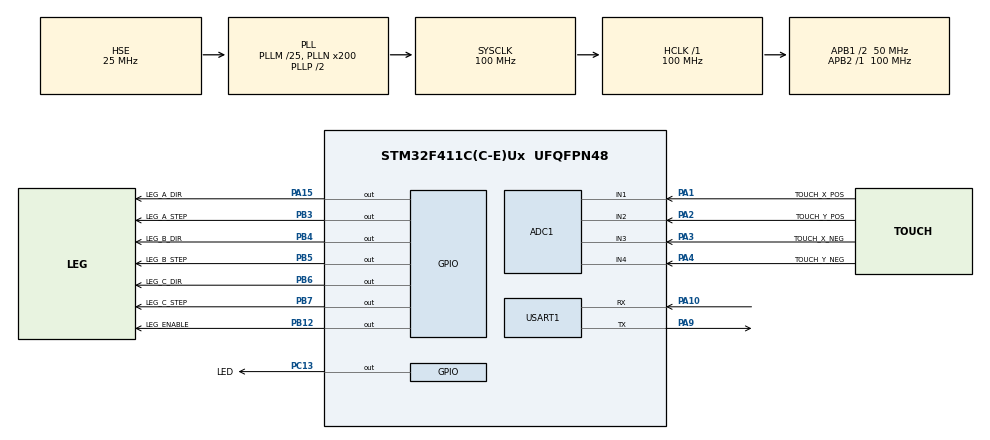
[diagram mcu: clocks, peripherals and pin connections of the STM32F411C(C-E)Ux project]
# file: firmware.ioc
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ADC1.Channel-3\#ChannelRegularConversion=ADC_CHANNEL_1
ADC1.NbrOfConversionFlag=1
ADC1.Rank-3\#ChannelRegularConversion=1
ADC1.SamplingTime-3\#ChannelRegularConversion=ADC_SAMPLETIME_480CYCLES
ADC1.master=1
Mcu.Family=STM32F4
Mcu.Name=STM32F411C(C-E)Ux
Mcu.Package=UFQFPN48
NVIC.PriorityGroup=NVIC_PRIORITYGROUP_4
NVIC.TIM1_BRK_TIM9_IRQn=true\:0\:0\:false\:false\:true\:true\:true\:true
NVIC.TIM5_IRQn=true\:2\:0\:true\:false\:true\:true\:true\:true
PA1.GPIO_Label=TOUCH_X_POS
PA1.Signal=ADCx_IN1
PA10.Mode=Asynchronous
PA10.Signal=USART1_RX
PA13.Mode=Serial_Wire
PA13.Signal=SYS_JTMS-SWDIO
PA14.Mode=Serial_Wire
PA14.Signal=SYS_JTCK-SWCLK
PA15.GPIO_Label=LEG_A_DIR
PA15.GPIO_Speed=GPIO_SPEED_FREQ_VERY_HIGH
PA15.Signal=GPIO_Output
PA2.GPIO_Label=TOUCH_Y_POS
PA2.Signal=ADCx_IN2
PA3.GPIO_Label=TOUCH_X_NEG
PA3.Signal=ADCx_IN3
PA4.GPIO_Label=TOUCH_Y_NEG
PA4.Signal=ADCx_IN4
PA9.Mode=Asynchronous
PA9.Signal=USART1_TX
PB12.GPIO_Label=LEG_ENABLE
PB12.Signal=GPIO_Output
PB3.GPIO_Label=LEG_A_STEP
PB3.GPIO_Speed=GPIO_SPEED_FREQ_VERY_HIGH
PB3.Signal=GPIO_Output
PB4.GPIO_Label=LEG_B_DIR
PB4.GPIO_Speed=GPIO_SPEED_FREQ_VERY_HIGH
PB4.Signal=GPIO_Output
PB5.GPIO_Label=LEG_B_STEP
PB5.GPIO_Speed=GPIO_SPEED_FREQ_VERY_HIGH
PB5.Signal=GPIO_Output
PB6.GPIO_Label=LEG_C_DIR
PB6.GPIO_Speed=GPIO_SPEED_FREQ_VERY_HIGH
PB6.Signal=GPIO_Output
PB7.GPIO_Label=LEG_C_STEP
PB7.GPIO_Speed=GPIO_SPEED_FREQ_VERY_HIGH
PB7.Signal=GPIO_Output
PC13-ANTI_TAMP.GPIO_Label=LED
PC13-ANTI_TAMP.Signal=GPIO_Output
PH0\ -\ OSC_IN.Mode=HSE-External-Oscillator
PH0\ -\ OSC_IN.Signal=RCC_OSC_IN
PH1\ -\ OSC_OUT.Mode=HSE-External-Oscillator
PH1\ -\ OSC_OUT.Signal=RCC_OSC_OUT
ProjectManager.HeapSize=0x200
ProjectManager.StackSize=0x400
ProjectManager.TargetToolchain=CMake
RCC.48MHZClocksFreq_Value=50000000
RCC.AHBFreq_Value=100000000
RCC.APB1CLKDivider=RCC_HCLK_DIV2
RCC.APB1Freq_Value=50000000
RCC.APB1TimFreq_Value=100000000
RCC.APB2Freq_Value=100000000
RCC.APB2TimFreq_Value=100000000
RCC.CortexFreq_Value=100000000
RCC.HCLKFreq_Value=100000000
RCC.HSE_VALUE=25000000
RCC.HSI_VALUE=16000000
RCC.LSE_VALUE=32768
RCC.PLLM=25
RCC.PLLN=200
RCC.PLLSourceVirtual=RCC_PLLSOURCE_HSE
RCC.SYSCLKFreq_VALUE=100000000
RCC.SYSCLKSource=RCC_SYSCLKSOURCE_PLLCLK
RCC.VCOOutputFreq_Value=200000000
SH.ADCx_IN1.0=ADC1_IN1,IN1
SH.ADCx_IN2.0=ADC1_IN2,IN2
SH.ADCx_IN3.0=ADC1_IN3,IN3
SH.ADCx_IN4.0=ADC1_IN4,IN4
TIM5.AutoReloadPreload=TIM_AUTORELOAD_PRELOAD_ENABLE
TIM5.Period=4999
TIM5.Prescaler=99
TIM9.AutoReloadPreload=TIM_AUTORELOAD_PRELOAD_ENABLE
TIM9.Period=24
TIM9.Prescaler=99
USART1.VirtualMode=VM_ASYNC
VP_TIM5_VS_ClockSourceINT.Mode=Internal
VP_TIM9_VS_ClockSourceINT.Mode=Internal
board=custom

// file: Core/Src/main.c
/* USER CODE BEGIN Header */
/**
  ******************************************************************************
  * @file           : main.c
  * @brief          : Main program body
  ******************************************************************************
  * @attention
  *
  * Copyright (c) 2026 STMicroelectronics.
  * All rights reserved.
  *
  * This software is licensed under terms that can be found in the LICENSE file
  * in the root directory of this software component.
  * If no LICENSE file comes with this software, it is provided AS-IS.
  *
  ******************************************************************************
  */
/* USER CODE END Header */
#include "main.h"

/* USER CODE BEGIN Includes */
#include <stdio.h>

#include "controller.h"
#include "resistive_touch.h"
#include "stepper_driver.h"
/* USER CODE END Includes */

/* USER CODE BEGIN PD */
#define PUTCHAR_PROTOTYPE int __io_putchar(int ch)
/* USER CODE END PD */

ADC_HandleTypeDef hadc1;

TIM_HandleTypeDef htim5;
TIM_HandleTypeDef htim9;

UART_HandleTypeDef huart1;

/* USER CODE BEGIN PV */
static uint32_t hclk_mhz;
static uint32_t last_tick;

#ifndef NDEBUG
volatile uint16_t x_raw, y_raw;
volatile float x_pos, y_pos;
volatile uint16_t pressure;

volatile float x_out, y_out;
volatile float a_theta, b_theta, c_theta;
#endif

volatile bool err_occurred = false;
/* USER CODE END PV */

void SystemClock_Config(void);
static void MX_GPIO_Init(void);
static void MX_ADC1_Init(void);
static void MX_TIM5_Init(void);
static void MX_TIM9_Init(void);
static void MX_USART1_UART_Init(void);
/* USER CODE BEGIN PFP */
static void DWT_Init(void);
/* USER CODE END PFP */

int main(void)
{

  /* MCU Configuration--------------------------------------------------------*/

  /* Reset of all peripherals, Initializes the Flash interface and the Systick. */
  HAL_Init();

  /* USER CODE BEGIN Init */
  #if !defined(__FPU_USED) || (__FPU_USED != 1)
  #error "FPU is NOT enabled in the compiler! Check CMake flags."
  #endif

  SCB->CPACR |= ((3UL << 10*2) | (3UL << 11*2));
  /* USER CODE END Init */

  /* Configure the system clock */
  SystemClock_Config();

  /* USER CODE BEGIN SysInit */
  DWT_Init();
  /* USER CODE END SysInit */

  /* Initialize all configured peripherals */
  MX_GPIO_Init();
  MX_ADC1_Init();
  MX_TIM5_Init();
  MX_TIM9_Init();
  MX_USART1_UART_Init();
  /* USER CODE BEGIN 2 */
  Touch_Init();
  Controller_Init();

  HAL_TIM_Base_Start_IT(&htim5);
  HAL_TIM_Base_Start_IT(&htim9);
  /* USER CODE END 2 */

  /* Infinite loop */
  /* USER CODE BEGIN WHILE */
  setvbuf(stdout, NULL, _IONBF, 0);
  while (1)
  {
    /* USER CODE END WHILE */

    /* USER CODE BEGIN 3 */
    const float x_err = 0 - x_pos, y_err = 0 - y_pos;
    //printf("x_raw: %d | y_raw: %d | z: %d | x_pos: %.2f | y_pos: %.2f \n", x_raw, y_raw, pressure, x_pos, y_pos);
    printf("x_err: %.3f | y_err: %.3f | x_out: %.3f | y_out: %.3f | a_theta: %.3f | b_theta: %.3f | c_theta: %.3f \n", x_err, y_err, x_out, y_out, a_theta, b_theta, c_theta);
  }
  /* USER CODE END 3 */
}

void SystemClock_Config(void)
{
  RCC_OscInitTypeDef RCC_OscInitStruct = {0};
  RCC_ClkInitTypeDef RCC_ClkInitStruct = {0};

  /** Configure the main internal regulator output voltage
  */
  __HAL_RCC_PWR_CLK_ENABLE();
  __HAL_PWR_VOLTAGESCALING_CONFIG(PWR_REGULATOR_VOLTAGE_SCALE1);

  /** Initializes the RCC Oscillators according to the specified parameters
  * in the RCC_OscInitTypeDef structure.
  */
  RCC_OscInitStruct.OscillatorType = RCC_OSCILLATORTYPE_HSE;
  RCC_OscInitStruct.HSEState = RCC_HSE_ON;
  RCC_OscInitStruct.PLL.PLLState = RCC_PLL_ON;
  RCC_OscInitStruct.PLL.PLLSource = RCC_PLLSOURCE_HSE;
  RCC_OscInitStruct.PLL.PLLM = 25;
  RCC_OscInitStruct.PLL.PLLN = 200;
  RCC_OscInitStruct.PLL.PLLP = RCC_PLLP_DIV2;
  RCC_OscInitStruct.PLL.PLLQ = 4;
  if (HAL_RCC_OscConfig(&RCC_OscInitStruct) != HAL_OK)
  {
    Error_Handler();
  }

  /** Initializes the CPU, AHB and APB buses clocks
  */
  RCC_ClkInitStruct.ClockType = RCC_CLOCKTYPE_HCLK|RCC_CLOCKTYPE_SYSCLK
                              |RCC_CLOCKTYPE_PCLK1|RCC_CLOCKTYPE_PCLK2;
  RCC_ClkInitStruct.SYSCLKSource = RCC_SYSCLKSOURCE_PLLCLK;
  RCC_ClkInitStruct.AHBCLKDivider = RCC_SYSCLK_DIV1;
  RCC_ClkInitStruct.APB1CLKDivider = RCC_HCLK_DIV2;
  RCC_ClkInitStruct.APB2CLKDivider = RCC_HCLK_DIV1;

  if (HAL_RCC_ClockConfig(&RCC_ClkInitStruct, FLASH_LATENCY_3) != HAL_OK)
  {
    Error_Handler();
  }
}

static void MX_ADC1_Init(void)
{

  ADC_ChannelConfTypeDef sConfig = {0};

  /** Configure the global features of the ADC (Clock, Resolution, Data Alignment and number of conversion)
  */
  hadc1.Instance = ADC1;
  hadc1.Init.ClockPrescaler = ADC_CLOCK_SYNC_PCLK_DIV4;
  hadc1.Init.Resolution = ADC_RESOLUTION_12B;
  hadc1.Init.ScanConvMode = DISABLE;
  hadc1.Init.ContinuousConvMode = DISABLE;
  hadc1.Init.DiscontinuousConvMode = DISABLE;
  hadc1.Init.ExternalTrigConvEdge = ADC_EXTERNALTRIGCONVEDGE_NONE;
  hadc1.Init.ExternalTrigConv = ADC_SOFTWARE_START;
  hadc1.Init.DataAlign = ADC_DATAALIGN_RIGHT;
  hadc1.Init.NbrOfConversion = 1;
  hadc1.Init.DMAContinuousRequests = DISABLE;
  hadc1.Init.EOCSelection = ADC_EOC_SINGLE_CONV;
  if (HAL_ADC_Init(&hadc1) != HAL_OK)
  {
    Error_Handler();
  }

  /** Configure for the selected ADC regular channel its corresponding rank in the sequencer and its sample time.
  */
  sConfig.Channel = ADC_CHANNEL_1;
  sConfig.Rank = 1;
  sConfig.SamplingTime = ADC_SAMPLETIME_480CYCLES;
  if (HAL_ADC_ConfigChannel(&hadc1, &sConfig) != HAL_OK)
  {
    Error_Handler();
  }

}

static void MX_TIM5_Init(void)
{

  TIM_ClockConfigTypeDef sClockSourceConfig = {0};
  TIM_MasterConfigTypeDef sMasterConfig = {0};

  htim5.Instance = TIM5;
  htim5.Init.Prescaler = 99;
  htim5.Init.CounterMode = TIM_COUNTERMODE_UP;
  htim5.Init.Period = 4999;
  htim5.Init.ClockDivision = TIM_CLOCKDIVISION_DIV1;
  htim5.Init.AutoReloadPreload = TIM_AUTORELOAD_PRELOAD_ENABLE;
  if (HAL_TIM_Base_Init(&htim5) != HAL_OK)
  {
    Error_Handler();
  }
  sClockSourceConfig.ClockSource = TIM_CLOCKSOURCE_INTERNAL;
  if (HAL_TIM_ConfigClockSource(&htim5, &sClockSourceConfig) != HAL_OK)
  {
    Error_Handler();
  }
  sMasterConfig.MasterOutputTrigger = TIM_TRGO_RESET;
  sMasterConfig.MasterSlaveMode = TIM_MASTERSLAVEMODE_DISABLE;
  if (HAL_TIMEx_MasterConfigSynchronization(&htim5, &sMasterConfig) != HAL_OK)
  {
    Error_Handler();
  }

}

static void MX_TIM9_Init(void)
{

  TIM_ClockConfigTypeDef sClockSourceConfig = {0};

  htim9.Instance = TIM9;
  htim9.Init.Prescaler = 99;
  htim9.Init.CounterMode = TIM_COUNTERMODE_UP;
  htim9.Init.Period = 24;
  htim9.Init.ClockDivision = TIM_CLOCKDIVISION_DIV1;
  htim9.Init.AutoReloadPreload = TIM_AUTORELOAD_PRELOAD_ENABLE;
  if (HAL_TIM_Base_Init(&htim9) != HAL_OK)
  {
    Error_Handler();
  }
  sClockSourceConfig.ClockSource = TIM_CLOCKSOURCE_INTERNAL;
  if (HAL_TIM_ConfigClockSource(&htim9, &sClockSourceConfig) != HAL_OK)
  {
    Error_Handler();
  }

}

static void MX_USART1_UART_Init(void)
{

  huart1.Instance = USART1;
  huart1.Init.BaudRate = 115200;
  huart1.Init.WordLength = UART_WORDLENGTH_8B;
  huart1.Init.StopBits = UART_STOPBITS_1;
  huart1.Init.Parity = UART_PARITY_NONE;
  huart1.Init.Mode = UART_MODE_TX_RX;
  huart1.Init.HwFlowCtl = UART_HWCONTROL_NONE;
  huart1.Init.OverSampling = UART_OVERSAMPLING_16;
  if (HAL_UART_Init(&huart1) != HAL_OK)
  {
    Error_Handler();
  }

}

static void MX_GPIO_Init(void)
{
  GPIO_InitTypeDef GPIO_InitStruct = {0};

  /* GPIO Ports Clock Enable */
  __HAL_RCC_GPIOC_CLK_ENABLE();
  __HAL_RCC_GPIOH_CLK_ENABLE();
  __HAL_RCC_GPIOA_CLK_ENABLE();
  __HAL_RCC_GPIOB_CLK_ENABLE();

  /*Configure GPIO pin Output Level */
  HAL_GPIO_WritePin(LED_GPIO_Port, LED_Pin, GPIO_PIN_RESET);

  /*Configure GPIO pin Output Level */
  HAL_GPIO_WritePin(GPIOB, LEG_ENABLE_Pin|LEG_A_STEP_Pin|LEG_B_DIR_Pin|LEG_B_STEP_Pin
                          |LEG_C_DIR_Pin|LEG_C_STEP_Pin, GPIO_PIN_RESET);

  /*Configure GPIO pin Output Level */
  HAL_GPIO_WritePin(LEG_A_DIR_GPIO_Port, LEG_A_DIR_Pin, GPIO_PIN_RESET);

  /*Configure GPIO pin : LED_Pin */
  GPIO_InitStruct.Pin = LED_Pin;
  GPIO_InitStruct.Mode = GPIO_MODE_OUTPUT_PP;
  GPIO_InitStruct.Pull = GPIO_NOPULL;
  GPIO_InitStruct.Speed = GPIO_SPEED_FREQ_LOW;
  HAL_GPIO_Init(LED_GPIO_Port, &GPIO_InitStruct);

  /*Configure GPIO pin : LEG_ENABLE_Pin */
  GPIO_InitStruct.Pin = LEG_ENABLE_Pin;
  GPIO_InitStruct.Mode = GPIO_MODE_OUTPUT_PP;
  GPIO_InitStruct.Pull = GPIO_NOPULL;
  GPIO_InitStruct.Speed = GPIO_SPEED_FREQ_LOW;
  HAL_GPIO_Init(LEG_ENABLE_GPIO_Port, &GPIO_InitStruct);

  /*Configure GPIO pin : LEG_A_DIR_Pin */
  GPIO_InitStruct.Pin = LEG_A_DIR_Pin;
  GPIO_InitStruct.Mode = GPIO_MODE_OUTPUT_PP;
  GPIO_InitStruct.Pull = GPIO_NOPULL;
  GPIO_InitStruct.Speed = GPIO_SPEED_FREQ_VERY_HIGH;
  HAL_GPIO_Init(LEG_A_DIR_GPIO_Port, &GPIO_InitStruct);

  /*Configure GPIO pins : LEG_A_STEP_Pin LEG_B_DIR_Pin LEG_B_STEP_Pin LEG_C_DIR_Pin
                           LEG_C_STEP_Pin */
  GPIO_InitStruct.Pin = LEG_A_STEP_Pin|LEG_B_DIR_Pin|LEG_B_STEP_Pin|LEG_C_DIR_Pin
                          |LEG_C_STEP_Pin;
  GPIO_InitStruct.Mode = GPIO_MODE_OUTPUT_PP;
  GPIO_InitStruct.Pull = GPIO_NOPULL;
  GPIO_InitStruct.Speed = GPIO_SPEED_FREQ_VERY_HIGH;
  HAL_GPIO_Init(GPIOB, &GPIO_InitStruct);

}

/* USER CODE BEGIN 4 */
PUTCHAR_PROTOTYPE
{
  /* Place your implementation of fputc here */
  /* e.g. write a character to the USART1 and Loop until the end of transmission */
  HAL_UART_Transmit(&huart1, (uint8_t *)&ch, 1, 0xFFFF);

  return ch;
}

void DWT_Init(void) {
  SystemCoreClockUpdate();
  hclk_mhz = HAL_RCC_GetHCLKFreq() / 1000000;

  // Force enablement directly
  CoreDebug->DEMCR |= CoreDebug_DEMCR_TRCENA_Msk;
  DWT->CYCCNT = 0;
  DWT->CTRL |= DWT_CTRL_CYCCNTENA_Msk;

  last_tick = DWT->CYCCNT;
}

void DWT_Delay_us(const uint32_t microseconds)
{
  const uint32_t start_tick = DWT->CYCCNT;
  const uint32_t delay_cycles = microseconds * hclk_mhz;
  while ((DWT->CYCCNT - start_tick) < delay_cycles);
}

uint32_t ADC_Read_Polling(const uint32_t timeout)
{
  uint32_t result = 0;

  if (HAL_ADC_PollForConversion(&hadc1, timeout) == HAL_OK) {
    result = HAL_ADC_GetValue(&hadc1);
  }

  return result;
}

void GPIO_SetPinMode(GPIO_TypeDef* port, const uint16_t pin, const uint32_t mode, const uint32_t pull)
{
#if FAST_GPIO_SET_PIN
  // From https://deepbluembedded.com/stm32-gpio-registers-direct-access-fast-pin-control/
  // Get pin index (0 to 15) from bitmask
  const uint32_t pin_pos = __builtin_ctz(pin);
  const uint32_t bit_offset = pin_pos * 2;

  // Update MODER (Mode Register)
  // Clear 2 bits, then set new mode. HAL constants for
  // INPUT (0), OUTPUT (1), and ANALOG (3) match register values.
  port->MODER = (port->MODER & ~(0x3U << bit_offset)) | ((mode & 0x3U) << bit_offset);

  // Update PUPDR (Pull-up/Pull-down Register)
  port->PUPDR = (port->PUPDR & ~(0x3U << bit_offset)) | (pull << bit_offset);
#else
  GPIO_InitTypeDef GPIO_InitStruct = {0};
  GPIO_InitStruct.Pin = pin;
  GPIO_InitStruct.Mode = mode;
  GPIO_InitStruct.Pull = pull;
  GPIO_InitStruct.Speed = GPIO_SPEED_FREQ_VERY_HIGH;
  HAL_GPIO_Init(port, &GPIO_InitStruct);
#endif
}
/* USER CODE END 4 */

void Error_Handler(void)
{
  /* USER CODE BEGIN Error_Handler_Debug */
  /* User can add his own implementation to report the HAL error return state */
  __disable_irq();
  err_occurred = true;
  while (1)
  {
    HAL_GPIO_TogglePin(LED_GPIO_Port, LED_Pin);
    HAL_Delay(50);
  }
  /* USER CODE END Error_Handler_Debug */
}
